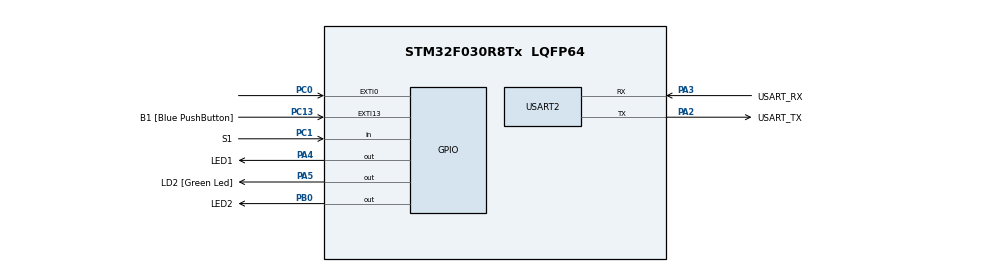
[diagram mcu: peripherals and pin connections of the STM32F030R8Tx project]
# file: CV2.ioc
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Mcu.Family=STM32F0
Mcu.Name=STM32F030R8Tx
Mcu.Package=LQFP64
NVIC.EXTI0_1_IRQn=true\:0\:0\:false\:false\:true\:true\:true\:true
PA13.GPIO_Label=TMS
PA13.Mode=Serial_Wire
PA13.Signal=SYS_SWDIO
PA14.GPIO_Label=TCK
PA14.Mode=Serial_Wire
PA14.Signal=SYS_SWCLK
PA2.GPIO_Label=USART_TX
PA2.GPIO_Mode=GPIO_MODE_AF_PP
PA2.GPIO_PuPd=GPIO_NOPULL
PA2.GPIO_Speed=GPIO_SPEED_FREQ_LOW
PA2.Mode=Asynchronous
PA2.Signal=USART2_TX
PA3.GPIO_Label=USART_RX
PA3.GPIO_Mode=GPIO_MODE_AF_PP
PA3.GPIO_PuPd=GPIO_NOPULL
PA3.GPIO_Speed=GPIO_SPEED_FREQ_LOW
PA3.Mode=Asynchronous
PA3.Signal=USART2_RX
PA4.GPIO_Label=LED1
PA4.Signal=GPIO_Output
PA5.GPIO_Label=LD2 [Green Led]
PA5.GPIO_Mode=GPIO_MODE_OUTPUT_PP
PA5.GPIO_PuPd=GPIO_NOPULL
PA5.GPIO_Speed=GPIO_SPEED_FREQ_LOW
PA5.Signal=GPIO_Output
PB0.GPIO_Label=LED2
PB0.Signal=GPIO_Output
PC0.Signal=GPXTI0
PC1.GPIO_Label=S1
PC1.GPIO_PuPd=GPIO_PULLUP
PC1.Signal=GPIO_Input
PC13.GPIO_Label=B1 [Blue PushButton]
PC13.GPIO_ModeDefaultEXTI=GPIO_MODE_IT_FALLING
PC13.Signal=GPXTI13
PC14-OSC32_IN.Mode=LSE-External-Oscillator
PC14-OSC32_IN.Signal=RCC_OSC32_IN
PC15-OSC32_OUT.Mode=LSE-External-Oscillator
PC15-OSC32_OUT.Signal=RCC_OSC32_OUT
PF0-OSC_IN.Mode=HSE-External-Clock-Source
PF0-OSC_IN.Signal=RCC_OSC_IN
PF1-OSC_OUT.Signal=RCC_OSC_OUT
ProjectManager.HeapSize=0x200
ProjectManager.StackSize=0x400
ProjectManager.TargetToolchain=STM32CubeIDE
RCC.AHBFreq_Value=48000000
RCC.APB1Freq_Value=48000000
RCC.APB1TimFreq_Value=48000000
RCC.HCLKFreq_Value=48000000
RCC.PLLMUL=RCC_PLL_MUL12
RCC.SYSCLKFreq_VALUE=48000000
RCC.SYSCLKSource=RCC_SYSCLKSOURCE_PLLCLK
USART2.VirtualMode-Asynchronous=VM_ASYNC
board=NUCLEO-F030R8

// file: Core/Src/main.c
/* USER CODE BEGIN Header */
/**
  ******************************************************************************
  * @file           : main.c
  * @brief          : Main program body
  ******************************************************************************
  * @attention
  *
  * Copyright (c) 2023 STMicroelectronics.
  * All rights reserved.
  *
  * This software is licensed under terms that can be found in the LICENSE file
  * in the root directory of this software component.
  * If no LICENSE file comes with this software, it is provided AS-IS.
  *
  ******************************************************************************
  */
/* USER CODE END Header */
#include "main.h"

/* USER CODE BEGIN PD */

 #define LED_TIME_BLINK 300
 #define LED_TIME_SHORT 100
 #define LED_TIME_LONG 	1000
 #define TIME_40	40
 #define TIME_5		5

/* USER CODE END PD */

void SystemClock_Config(void);
static void MX_GPIO_Init(void);
static void MX_USART2_UART_Init(void);

/* USER CODE BEGIN 0 */
volatile uint32_t Tick;

void blikac(void) {
	static uint32_t delay;
	if (Tick > delay + LED_TIME_BLINK) {
		LL_GPIO_TogglePin(LED1_GPIO_Port, LED1_Pin);
		delay = Tick;
	}
}

void tlacitka(void) {
	static uint32_t delay2;

	if (Tick > delay2 + TIME_5) {
		static uint16_t debounce = 0xffff;
		static uint32_t off_time;

		debounce <<= 1;
		if (LL_GPIO_IsInputPinSet(S1_GPIO_Port, S1_Pin)) {
			debounce |= 0x0001;
		}
		if (debounce == 0x7fff) {
			off_time = Tick + LED_TIME_LONG;
			LL_GPIO_SetOutputPin(LED2_GPIO_Port, LED2_Pin);

/*			static uint32_t old_s1;
			static uint32_t old_s2;

			uint32_t new_s1 = LL_GPIO_IsInputPinSet(S1_GPIO_Port, S1_Pin);
			uint32_t new_s2 = LL_GPIO_IsInputPinSet(S2_GPIO_Port, S2_Pin);

			// obsluha tlačítka S1
			if (old_s1 && !new_s1) { // falling edge S1
				off_time = Tick + LED_TIME_LONG;
				LL_GPIO_SetOutputPin(LED2_GPIO_Port, LED2_Pin);
			}
			old_s1 = new_s1;

			// obsluha tlačítka S2
			if (old_s2 && !new_s2) { // falling edge S2
				off_time = Tick + LED_TIME_SHORT;
				LL_GPIO_SetOutputPin(LED2_GPIO_Port, LED2_Pin);
			}
			old_s2 = new_s2;
*/
		}
		if (Tick > off_time) {
			LL_GPIO_ResetOutputPin(LED2_GPIO_Port, LED2_Pin);
		}
	}
}

/* USER CODE END 0 */

int main(void)
{

  /* MCU Configuration--------------------------------------------------------*/

  /* Reset of all peripherals, Initializes the Flash interface and the Systick. */
  LL_APB1_GRP2_EnableClock(LL_APB1_GRP2_PERIPH_SYSCFG);
  LL_APB1_GRP1_EnableClock(LL_APB1_GRP1_PERIPH_PWR);

  /* Configure the system clock */
  SystemClock_Config();

  /* Initialize all configured peripherals */
  MX_GPIO_Init();
  MX_USART2_UART_Init();
  /* USER CODE BEGIN 2 */

  LL_SYSTICK_EnableIT();

  /* USER CODE END 2 */

  /* Infinite loop */
  while (1)
  {
    /* USER CODE BEGIN 3 */
	  blikac();
	  tlacitka();

  }
  /* USER CODE END 3 */
}

void SystemClock_Config(void)
{
  LL_FLASH_SetLatency(LL_FLASH_LATENCY_1);
  while(LL_FLASH_GetLatency() != LL_FLASH_LATENCY_1)
  {
  }
  LL_RCC_HSI_Enable();

   /* Wait till HSI is ready */
  while(LL_RCC_HSI_IsReady() != 1)
  {

  }
  LL_RCC_HSI_SetCalibTrimming(16);
  LL_RCC_PLL_ConfigDomain_SYS(LL_RCC_PLLSOURCE_HSI_DIV_2, LL_RCC_PLL_MUL_12);
  LL_RCC_PLL_Enable();

   /* Wait till PLL is ready */
  while(LL_RCC_PLL_IsReady() != 1)
  {

  }
  LL_RCC_SetAHBPrescaler(LL_RCC_SYSCLK_DIV_1);
  LL_RCC_SetAPB1Prescaler(LL_RCC_APB1_DIV_1);
  LL_RCC_SetSysClkSource(LL_RCC_SYS_CLKSOURCE_PLL);

   /* Wait till System clock is ready */
  while(LL_RCC_GetSysClkSource() != LL_RCC_SYS_CLKSOURCE_STATUS_PLL)
  {

  }
  LL_Init1msTick(48000000);
  LL_SetSystemCoreClock(48000000);
}

static void MX_USART2_UART_Init(void)
{

  LL_USART_InitTypeDef USART_InitStruct = {0};

  LL_GPIO_InitTypeDef GPIO_InitStruct = {0};

  /* Peripheral clock enable */
  LL_APB1_GRP1_EnableClock(LL_APB1_GRP1_PERIPH_USART2);

  LL_AHB1_GRP1_EnableClock(LL_AHB1_GRP1_PERIPH_GPIOA);
  /**USART2 GPIO Configuration
  PA2   ------> USART2_TX
  PA3   ------> USART2_RX
  */
  GPIO_InitStruct.Pin = USART_TX_Pin;
  GPIO_InitStruct.Mode = LL_GPIO_MODE_ALTERNATE;
  GPIO_InitStruct.Speed = LL_GPIO_SPEED_FREQ_LOW;
  GPIO_InitStruct.OutputType = LL_GPIO_OUTPUT_PUSHPULL;
  GPIO_InitStruct.Pull = LL_GPIO_PULL_NO;
  GPIO_InitStruct.Alternate = LL_GPIO_AF_1;
  LL_GPIO_Init(USART_TX_GPIO_Port, &GPIO_InitStruct);

  GPIO_InitStruct.Pin = USART_RX_Pin;
  GPIO_InitStruct.Mode = LL_GPIO_MODE_ALTERNATE;
  GPIO_InitStruct.Speed = LL_GPIO_SPEED_FREQ_LOW;
  GPIO_InitStruct.OutputType = LL_GPIO_OUTPUT_PUSHPULL;
  GPIO_InitStruct.Pull = LL_GPIO_PULL_NO;
  GPIO_InitStruct.Alternate = LL_GPIO_AF_1;
  LL_GPIO_Init(USART_RX_GPIO_Port, &GPIO_InitStruct);

  USART_InitStruct.BaudRate = 38400;
  USART_InitStruct.DataWidth = LL_USART_DATAWIDTH_8B;
  USART_InitStruct.StopBits = LL_USART_STOPBITS_1;
  USART_InitStruct.Parity = LL_USART_PARITY_NONE;
  USART_InitStruct.TransferDirection = LL_USART_DIRECTION_TX_RX;
  USART_InitStruct.HardwareFlowControl = LL_USART_HWCONTROL_NONE;
  USART_InitStruct.OverSampling = LL_USART_OVERSAMPLING_16;
  LL_USART_Init(USART2, &USART_InitStruct);
  LL_USART_DisableIT_CTS(USART2);
  LL_USART_ConfigAsyncMode(USART2);
  LL_USART_Enable(USART2);

}

static void MX_GPIO_Init(void)
{
  LL_EXTI_InitTypeDef EXTI_InitStruct = {0};
  LL_GPIO_InitTypeDef GPIO_InitStruct = {0};

  /* GPIO Ports Clock Enable */
  LL_AHB1_GRP1_EnableClock(LL_AHB1_GRP1_PERIPH_GPIOC);
  LL_AHB1_GRP1_EnableClock(LL_AHB1_GRP1_PERIPH_GPIOF);
  LL_AHB1_GRP1_EnableClock(LL_AHB1_GRP1_PERIPH_GPIOA);
  LL_AHB1_GRP1_EnableClock(LL_AHB1_GRP1_PERIPH_GPIOB);

  /**/
  LL_GPIO_ResetOutputPin(LED1_GPIO_Port, LED1_Pin);

  /**/
  LL_GPIO_ResetOutputPin(LD2_GPIO_Port, LD2_Pin);

  /**/
  LL_GPIO_ResetOutputPin(LED2_GPIO_Port, LED2_Pin);

  /**/
  LL_SYSCFG_SetEXTISource(LL_SYSCFG_EXTI_PORTC, LL_SYSCFG_EXTI_LINE13);

  /**/
  LL_GPIO_SetPinPull(B1_GPIO_Port, B1_Pin, LL_GPIO_PULL_NO);

  /**/
  LL_GPIO_SetPinMode(B1_GPIO_Port, B1_Pin, LL_GPIO_MODE_INPUT);

  /**/
  EXTI_InitStruct.Line_0_31 = LL_EXTI_LINE_13;
  EXTI_InitStruct.LineCommand = ENABLE;
  EXTI_InitStruct.Mode = LL_EXTI_MODE_IT;
  EXTI_InitStruct.Trigger = LL_EXTI_TRIGGER_FALLING;
  LL_EXTI_Init(&EXTI_InitStruct);

  /**/
  GPIO_InitStruct.Pin = S2_Pin;
  GPIO_InitStruct.Mode = LL_GPIO_MODE_INPUT;
  GPIO_InitStruct.Pull = LL_GPIO_PULL_UP;
  LL_GPIO_Init(S2_GPIO_Port, &GPIO_InitStruct);

  /**/
  GPIO_InitStruct.Pin = S1_Pin;
  GPIO_InitStruct.Mode = LL_GPIO_MODE_INPUT;
  GPIO_InitStruct.Pull = LL_GPIO_PULL_UP;
  LL_GPIO_Init(S1_GPIO_Port, &GPIO_InitStruct);

  /**/
  GPIO_InitStruct.Pin = LED1_Pin;
  GPIO_InitStruct.Mode = LL_GPIO_MODE_OUTPUT;
  GPIO_InitStruct.Speed = LL_GPIO_SPEED_FREQ_LOW;
  GPIO_InitStruct.OutputType = LL_GPIO_OUTPUT_PUSHPULL;
  GPIO_InitStruct.Pull = LL_GPIO_PULL_NO;
  LL_GPIO_Init(LED1_GPIO_Port, &GPIO_InitStruct);

  /**/
  GPIO_InitStruct.Pin = LD2_Pin;
  GPIO_InitStruct.Mode = LL_GPIO_MODE_OUTPUT;
  GPIO_InitStruct.Speed = LL_GPIO_SPEED_FREQ_LOW;
  GPIO_InitStruct.OutputType = LL_GPIO_OUTPUT_PUSHPULL;
  GPIO_InitStruct.Pull = LL_GPIO_PULL_NO;
  LL_GPIO_Init(LD2_GPIO_Port, &GPIO_InitStruct);

  /**/
  GPIO_InitStruct.Pin = LED2_Pin;
  GPIO_InitStruct.Mode = LL_GPIO_MODE_OUTPUT;
  GPIO_InitStruct.Speed = LL_GPIO_SPEED_FREQ_LOW;
  GPIO_InitStruct.OutputType = LL_GPIO_OUTPUT_PUSHPULL;
  GPIO_InitStruct.Pull = LL_GPIO_PULL_NO;
  LL_GPIO_Init(LED2_GPIO_Port, &GPIO_InitStruct);

}

void Error_Handler(void)
{
  __disable_irq();
  while (1)
  {
  }
}
